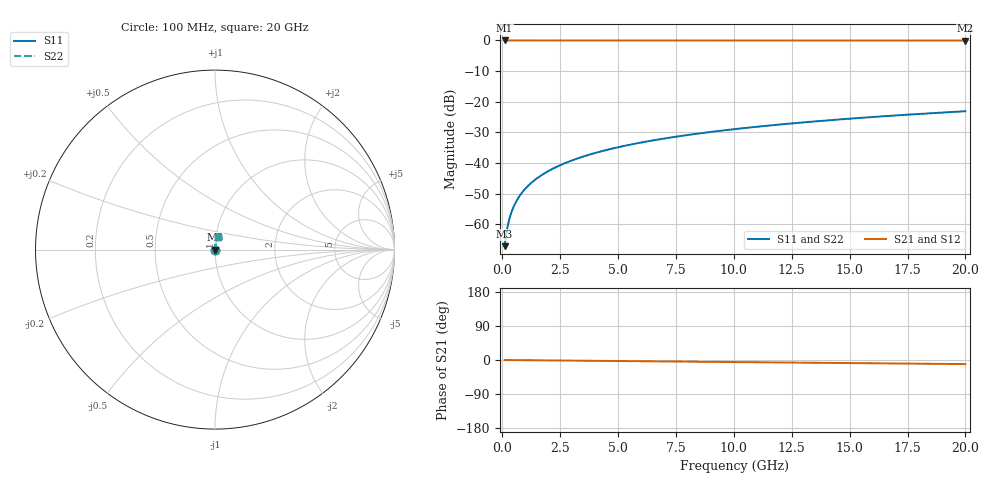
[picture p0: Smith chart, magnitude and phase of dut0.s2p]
! Touchstone file exported from HFSS 2026.1.0
!  File:  C:/ffzhzh/LocalFiles/Ansys_Project_Files/temp_val_TSV_0_1782974607_45748.aedt
!  Generated:  02:45:22 PM Jul  2, 2026
!  Design:  TSV
!  Project:  temp_val_TSV_0_1782974607_45748
! Variables:
!  h_bsmrdl = 2um
!  h_ox = 20um
!  h_rdl = 5um
!  h_sub = 97.69um
!  h_tmrdl = 5um
!  h_tsv = 97.69um
!  h_via = 3um
!  l_bsmrdl = 300um
!  l_sub = 417.18um
!  l_tmrdl = 200um
!  m_sub = 200um
!  pitch = 58.65um
!  r_tsv = 8.59um
!  s_tmrdl = 10um
!  w_bsmrdl = 18um
!  w_sub = 500um
!  w_tmrdl = 12um
!  x_tsv_center1 = 206um
!  x_tsv_center2 = 524um
!  x_tsv_center3 = 736um
!  x_tsv_center4 = 1054um
!  x_tsv_center5 = 1266um
!  x_tsv_center6 = 1584um
# GHz S MA R 50.000000
! Terminal data exported
! Port[1] = TSV1_1_T1
! Port[2] = TSV1_1_T2
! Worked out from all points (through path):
!   200 points, 100 MHz to 20 GHz, reference 50 ohm
!   highest |S21| = 0.00 dB at 100 MHz (marker M1); lowest = 0.0 dB at 20 GHz (marker M2)
!   group delay of S21, straight-line fit = 1.5 ps
!   lowest |S11| = -67.1 dB at 100 MHz (marker M3), VSWR 1.00, Z = 50 + j0.0401 ohm
!   |S11| at or under -10 dB: start of sweep to end of sweep
!   |S22| runs from -67.1 to -23.1 dB; largest |S21 - S12| = 3.2e-15
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0.1  0.0004412 65.2  0.9998 -0.1  0.9998 -0.1  0.0004412 65.2
! Gamma 0 0 0 0
! Port Impedance 50 0 50 0
0.2  0.0008229 76.2  0.9998 -0.1  0.9998 -0.1  0.0008229 76.2
0.3  0.001213 79.7  0.9998 -0.2  0.9998 -0.2  0.001213 79.7
0.4  0.001601 81.4  0.9998 -0.2  0.9998 -0.2  0.001601 81.4
0.5  0.001985 82.3  0.9997 -0.3  0.9997 -0.3  0.001985 82.3
0.6  0.002365 82.8  0.9997 -0.3  0.9997 -0.3  0.002365 82.8
0.7  0.00274 83.2  0.9997 -0.4  0.9997 -0.4  0.00274 83.2
0.8  0.003111 83.4  0.9997 -0.4  0.9997 -0.4  0.003111 83.4
1  0.003844 83.8  0.9996 -0.6  0.9996 -0.6  0.003844 83.8
1.4  0.00529 84.3  0.9995 -0.8  0.9995 -0.8  0.00529 84.3
1.7  0.006367 84.6  0.9995 -0.9  0.9995 -0.9  0.006367 84.6
2  0.007441 84.8  0.9994 -1.1  0.9994 -1.1  0.007441 84.8
2.7  0.009944 85.0  0.9993 -1.5  0.9993 -1.5  0.009944 85.0
3.5  0.0128 85.0  0.9992 -1.9  0.9992 -1.9  0.0128 85.0
4.2  0.01529 84.9  0.9991 -2.3  0.9991 -2.3  0.01529 84.9
5  0.01812 84.7  0.999 -2.7  0.999 -2.7  0.01812 84.7
6.8  0.02447 84.1  0.9987 -3.7  0.9987 -3.7  0.02447 84.1
8.3  0.02973 83.5  0.9985 -4.5  0.9985 -4.5  0.02973 83.5
10.1  0.03601 82.7  0.9982 -5.5  0.9982 -5.5  0.03601 82.7
13.4  0.04747 81.1  0.9975 -7.3  0.9975 -7.3  0.04747 81.1
16.7  0.05882 79.5  0.9968 -9.0  0.9968 -9.0  0.05882 79.5
20  0.07006 77.9  0.9959 -10.8  0.9959 -10.8  0.07006 77.9
